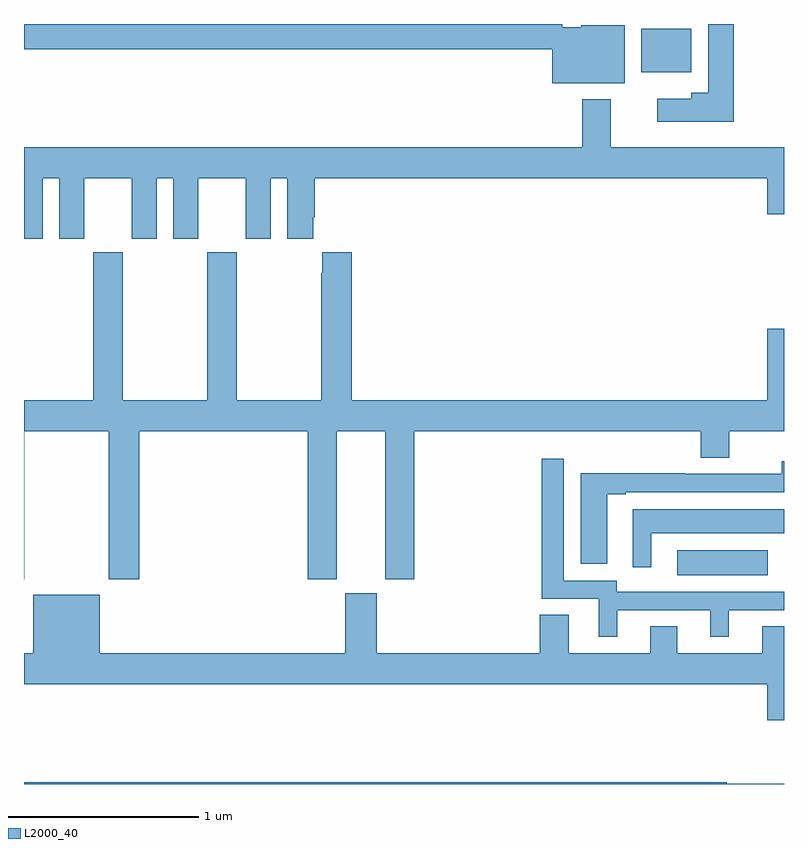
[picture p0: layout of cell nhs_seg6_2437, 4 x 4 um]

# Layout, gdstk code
import gdstk
lib = gdstk.Library(unit=1e-6, precision=1e-09)
def R(c, l, rs):  # rectangles x0, y0, x1, y1
    for r in rs: c.add(gdstk.rectangle(r[:2], r[2:], *l))
def P(c, l, *ps):  # polygons
    for p in ps: c.add(gdstk.Polygon(p, *l))
L2000_40 = (2000, 40)

nhs_seg6_2437 = lib.new_cell('nhs_seg6_2437')
R(nhs_seg6_2437, L2000_40, [(260.439,926.6,260.914,926.731), (260.249,929.246,260.512,929.476)])
P(nhs_seg6_2437, L2000_40, [(260.735,929.5),(260.6,929.5),(260.6,929.137),(260.513,929.137),(260.513,929.107),(260.334,929.107),(260.334,928.985),(260.735,928.985)],
  [(260.161,929.494),(259.932,929.494),(259.932,929.484),(259.832,929.484),(259.832,929.5),(257,929.5),(257,929.368),(259.781,929.368),(259.781,929.189),(260.161,929.189)],
  [(257.098,928.688),(257.186,928.688),(257.186,928.371),(257.317,928.371),(257.317,928.688),(257.567,928.688),(257.567,928.371),(257.698,928.371),(257.698,928.688),(257.786,928.688),(257.786,928.371),(257.917,928.371),(257.917,928.688),(258.167,928.688),(258.167,928.371),(258.298,928.371),(258.298,928.688),(258.386,928.688),(258.386,928.371),(258.523,928.371),(258.523,928.483),(258.529,928.483),(258.529,928.688),(260.912,928.688),(260.912,928.5),(261,928.5),(261,928.852),(260.089,928.852),(260.089,929.104),(259.937,929.104),(259.937,928.852),(257,928.852),(257,928.371),(257.098,928.371)],
  [(257.001,927.356),(257.446,927.356),(257.446,926.577),(257.606,926.577),(257.606,927.356),(258.494,927.356),(258.494,926.577),(258.646,926.577),(258.646,927.356),(258.902,927.356),(258.902,926.577),(259.055,926.577),(259.055,927.356),(260.561,927.356),(260.561,927.217),(260.713,927.217),(260.713,927.356),(261,927.356),(261,927.895),(260.912,927.895),(260.912,927.52),(258.725,927.52),(258.725,928.3),(258.569,928.3),(258.569,928.187),(258.565,928.187),(258.565,927.52),(258.12,927.52),(258.12,928.3),(257.965,928.3),(257.965,927.52),(257.52,927.52),(257.52,928.3),(257.365,928.3),(257.365,927.52),(257,927.52),(257,926.577),(257.001,926.577)],
  [(260.122,926.415),(260.612,926.415),(260.612,926.274),(260.71,926.274),(260.71,926.415),(261,926.415),(261,926.511),(260.121,926.511),(260.121,926.571),(259.842,926.571),(259.842,927.211),(259.726,927.211),(259.726,926.475),(260.024,926.475),(260.024,926.274),(260.122,926.274)],
  [(260.071,927.024),(260.167,927.024),(260.167,927.036),(261,927.036),(261,927.199),(260.987,927.199),(260.987,927.132),(260.477,927.132),(260.477,927.135),(259.931,927.135),(259.931,926.658),(260.071,926.658)],
  [(260.302,926.819),(261,926.819),(261,926.947),(260.204,926.947),(260.204,926.64),(260.302,926.64)],
  [(261,926.33),(260.885,926.33),(260.885,926.188),(260.437,926.188),(260.437,926.33),(260.297,926.33),(260.297,926.188),(259.867,926.188),(259.867,926.39),(259.715,926.39),(259.715,926.188),(258.856,926.188),(258.856,926.505),(258.692,926.505),(258.692,926.188),(257.398,926.188),(257.398,926.497),(257.048,926.497),(257.048,926.188),(257,926.188),(257,926.024),(260.912,926.024),(260.912,925.836),(261,925.836)],
  [(261,925.501),(260.699,925.501),(260.699,925.508),(257,925.508),(257,925.5),(261,925.5)])

lib.write_gds('nhs_seg6_2437.gds')
